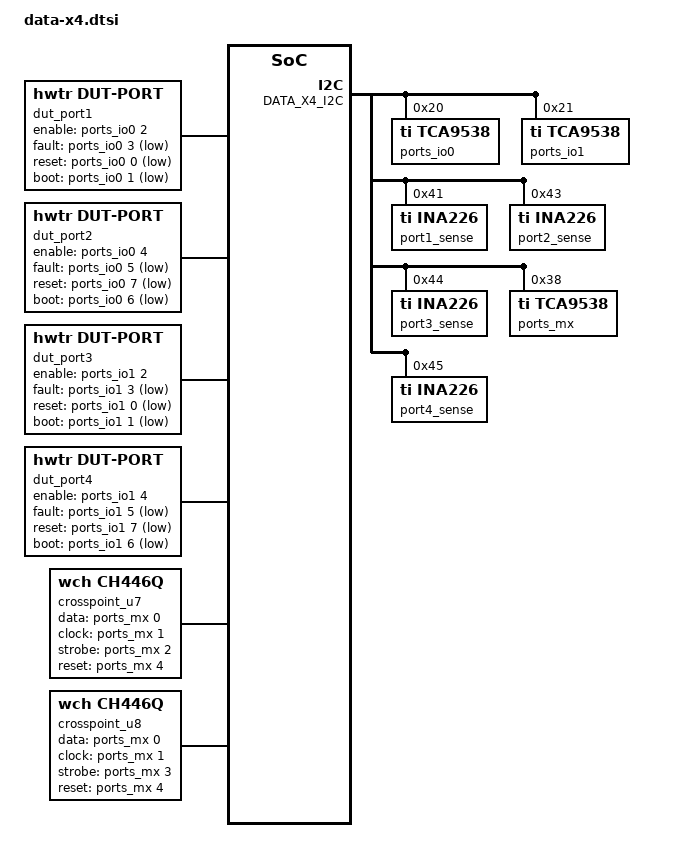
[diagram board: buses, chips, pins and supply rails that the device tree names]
/*
 * A DATA x4 board in the drawer (docs/multi-dut-node.md): four ports,
 * sub-slots <bay>.1-4, behind the node's DATA lead (J7).  An option on the
 * lead, not part of the node: the application adds it (app.overlay, and the
 * DevKitC stand-in's overlay), so MCUboot, built from the board alone, never
 * pulls in the I2C and expander drivers.
 *
 * The firmware probes the board (none: today's one DUT) and drives these
 * chips itself (src/ports.c): they lose their registers with DUT_5V, so
 * their drivers never touch them (zephyr,deferred-init, never initialized).
 * Hub port n is USB-C n.  Pins: electronics/data-port-x4/design.py and
 * data-port-x4-v2/design.py (the same, plus the matrix expander).
 *
 * SPDX-License-Identifier: Apache-2.0
 */

#include <zephyr/dt-bindings/gpio/gpio.h>

/* The node's I2C bus; a stand-in defines DATA_X4_I2C first (the CoreS3: i2c1, Grove port A) */
#ifndef DATA_X4_I2C
#define DATA_X4_I2C i2c0
#endif

/ {
	dut_port1: dut-port-1 {
		compatible = "hwtr,dut-port";
		sub-slot = <1>;
		hub-port = <1>;
		/* U2, its left port: P0 RESET, P1 BOOT, P2 EN, P3 FAULT_N */
		enable-gpios = <&ports_io0 2 GPIO_ACTIVE_HIGH>;
		fault-gpios = <&ports_io0 3 GPIO_ACTIVE_LOW>;
		reset-gpios = <&ports_io0 0 GPIO_ACTIVE_LOW>;
		boot-gpios = <&ports_io0 1 GPIO_ACTIVE_LOW>;
		power-monitor = <&port1_sense>;
	};

	dut_port2: dut-port-2 {
		compatible = "hwtr,dut-port";
		sub-slot = <2>;
		hub-port = <2>;
		/* U2, its right port: P4 EN, P5 FAULT_N, P6 BOOT, P7 RESET */
		enable-gpios = <&ports_io0 4 GPIO_ACTIVE_HIGH>;
		fault-gpios = <&ports_io0 5 GPIO_ACTIVE_LOW>;
		reset-gpios = <&ports_io0 7 GPIO_ACTIVE_LOW>;
		boot-gpios = <&ports_io0 6 GPIO_ACTIVE_LOW>;
		power-monitor = <&port2_sense>;
	};

	dut_port3: dut-port-3 {
		compatible = "hwtr,dut-port";
		sub-slot = <3>;
		hub-port = <3>;
		/* U6, as U2 */
		enable-gpios = <&ports_io1 2 GPIO_ACTIVE_HIGH>;
		fault-gpios = <&ports_io1 3 GPIO_ACTIVE_LOW>;
		reset-gpios = <&ports_io1 0 GPIO_ACTIVE_LOW>;
		boot-gpios = <&ports_io1 1 GPIO_ACTIVE_LOW>;
		power-monitor = <&port3_sense>;
	};

	dut_port4: dut-port-4 {
		compatible = "hwtr,dut-port";
		sub-slot = <4>;
		hub-port = <4>;
		enable-gpios = <&ports_io1 4 GPIO_ACTIVE_HIGH>;
		fault-gpios = <&ports_io1 5 GPIO_ACTIVE_LOW>;
		reset-gpios = <&ports_io1 7 GPIO_ACTIVE_LOW>;
		boot-gpios = <&ports_io1 6 GPIO_ACTIVE_LOW>;
		power-monitor = <&port4_sense>;
	};

	/*
	 * DATA x4 v2: the pin matrix, two CH446Q (MUX controllers, a control
	 * line per X) on the TCA9534A, sharing DAT, CK and RST.  Like the
	 * expander they run from DUT_5V: the application initializes them once
	 * the board is up.
	 */
	crosspoint_u7: crosspoint-u7 {
		compatible = "wch,ch446q";
		data-gpios = <&ports_mx 0 GPIO_ACTIVE_HIGH>;
		clock-gpios = <&ports_mx 1 GPIO_ACTIVE_HIGH>;
		strobe-gpios = <&ports_mx 2 GPIO_ACTIVE_HIGH>;
		reset-gpios = <&ports_mx 4 GPIO_ACTIVE_HIGH>;
		#mux-control-cells = <1>;
		#mux-state-cells = <2>;
		zephyr,deferred-init;
	};

	crosspoint_u8: crosspoint-u8 {
		compatible = "wch,ch446q";
		data-gpios = <&ports_mx 0 GPIO_ACTIVE_HIGH>;
		clock-gpios = <&ports_mx 1 GPIO_ACTIVE_HIGH>;
		strobe-gpios = <&ports_mx 3 GPIO_ACTIVE_HIGH>;
		reset-gpios = <&ports_mx 4 GPIO_ACTIVE_HIGH>;
		#mux-control-cells = <1>;
		#mux-state-cells = <2>;
		zephyr,deferred-init;
	};

	/*
	 * The 32 port pins on the matrix, by name: p<port>-<pin> (ports 1-2 on
	 * U7, 3-4 on U8; docs/electronics.md, the pin map).  A pin's state is
	 * the mask of the buses it joins, the chips' Y lines: bit 0 bus D,
	 * 1 C, 2 B, 3 A, 4 E, 5 F, 6 G, 7 H.
	 */
	port_pins: port-pins {
		compatible = "hwtr,port-pins";
		mux-controls = <&crosspoint_u7 15>, <&crosspoint_u7 7>, <&crosspoint_u7 9>, <&crosspoint_u7 11>, <&crosspoint_u7 14>, <&crosspoint_u7 6>, <&crosspoint_u7 8>, <&crosspoint_u7 10>,
			       <&crosspoint_u7 12>, <&crosspoint_u7 4>, <&crosspoint_u7 2>, <&crosspoint_u7 0>, <&crosspoint_u7 13>, <&crosspoint_u7 5>, <&crosspoint_u7 3>, <&crosspoint_u7 1>,
			       <&crosspoint_u8 15>, <&crosspoint_u8 7>, <&crosspoint_u8 9>, <&crosspoint_u8 11>, <&crosspoint_u8 14>, <&crosspoint_u8 6>, <&crosspoint_u8 8>, <&crosspoint_u8 10>,
			       <&crosspoint_u8 12>, <&crosspoint_u8 4>, <&crosspoint_u8 2>, <&crosspoint_u8 0>, <&crosspoint_u8 13>, <&crosspoint_u8 5>, <&crosspoint_u8 3>, <&crosspoint_u8 1>;
		mux-control-names = "p1-1", "p1-2", "p1-3", "p1-4", "p1-5", "p1-6", "p1-7", "p1-8",
				    "p2-1", "p2-2", "p2-3", "p2-4", "p2-5", "p2-6", "p2-7", "p2-8",
				    "p3-1", "p3-2", "p3-3", "p3-4", "p3-5", "p3-6", "p3-7", "p3-8",
				    "p4-1", "p4-2", "p4-3", "p4-4", "p4-5", "p4-6", "p4-7", "p4-8";
	};

};

&DATA_X4_I2C {
	/*
	 * The DATA x4's chips, through the DATA lead and the board's isolation
	 * FETs, powered from DUT_5V: src/ports.c drives them, never the drivers
	 * (zephyr,deferred-init, and nothing initializes them).
	 */
	ports_io0: gpio@20 {
		compatible = "ti,tca9538";
		reg = <0x20>;
		gpio-controller;
		#gpio-cells = <2>;
		ngpios = <8>;
		zephyr,deferred-init;
	};

	ports_io1: gpio@21 {
		compatible = "ti,tca9538";
		reg = <0x21>;
		gpio-controller;
		#gpio-cells = <2>;
		ngpios = <8>;
		zephyr,deferred-init;
	};

	/* 100 mOhm shunts: 81.92 mV full scale = 0.82 A, over the 0.50-0.62 A limits */
	port1_sense: ina226@41 {
		compatible = "ti,ina226";
		reg = <0x41>;
		current-lsb-microamps = <25>;
		rshunt-micro-ohms = <100000>;
		zephyr,deferred-init;
	};

	port2_sense: ina226@43 {
		compatible = "ti,ina226";
		reg = <0x43>;
		current-lsb-microamps = <25>;
		rshunt-micro-ohms = <100000>;
		zephyr,deferred-init;
	};

	port3_sense: ina226@44 {
		compatible = "ti,ina226";
		reg = <0x44>;
		current-lsb-microamps = <25>;
		rshunt-micro-ohms = <100000>;
		zephyr,deferred-init;
	};

	/*
	 * DATA x4 v2: the matrix expander (TCA9534A, not fitted on the base v2),
	 * register-compatible too: P0 DAT, P1 CK, P2/P3 STB, P4 RST, P5 RUN,
	 * P6 BOOTSEL, P7 MARK.  P0-P4 drive the crosspoints (crosspoint_u7/u8
	 * above), P5-P6 the co-processor; src/ports.c drives MARK low at set-up
	 * (docs/multi-dut-node.md).
	 */
	ports_mx: gpio@38 {
		compatible = "ti,tca9538";
		reg = <0x38>;
		gpio-controller;
		#gpio-cells = <2>;
		ngpios = <8>;
		zephyr,deferred-init;
	};

	port4_sense: ina226@45 {
		compatible = "ti,ina226";
		reg = <0x45>;
		current-lsb-microamps = <25>;
		rshunt-micro-ohms = <100000>;
		zephyr,deferred-init;
	};
};
